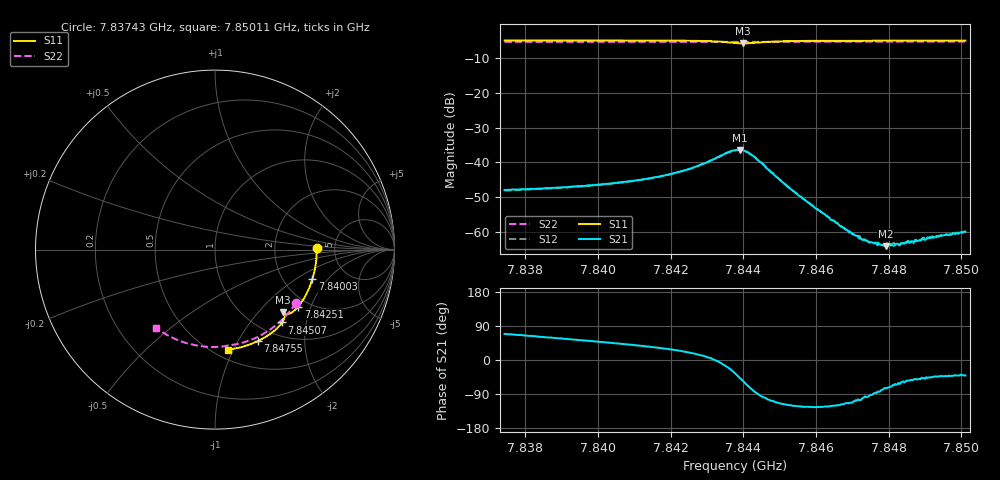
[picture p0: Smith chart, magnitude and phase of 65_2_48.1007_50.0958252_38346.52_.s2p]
#  HZ  S  RI  R  50.00
! Rohde & Schwarz Vector Network Analyzer
! Rohde-Schwarz,ZNB20-2Port,1311601062101988,3.16
! Created: UTC 12/23/2023, 3:41:11 AM
! freq[Hz]  re:S11  im:S11  re:S21  im:S21  re:S12  im:S12  re:S22  im:S22
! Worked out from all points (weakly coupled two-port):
!   401 points, 7.83743 GHz to 7.85011 GHz, reference 50 ohm
!   highest |S21| = -36.41 dB at 7.8439 GHz (marker M1); lowest = -64.1 dB at 7.84793 GHz (marker M2)
!   lowest |S11| = -5.8 dB at 7.844 GHz (marker M3), VSWR 3.12, Z = 72.1 - j68.6 ohm
!   |S11| at or under -10 dB: nowhere
!   |S22| runs from -5.4 to -5.3 dB; largest |S21 - S12| = 0.00032
!   S11 on the Smith chart (normalised r, x): 7.83743 GHz: 3.61, +0.07; 7.84003 GHz: 2.87, -1.39; 7.84251 GHz: 1.76, -1.64; 7.84507 GHz: 1.25, -1.46; 7.84755 GHz: 0.81, -1.21; 7.85011 GHz: 0.58, -0.95
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7.837433e9  0.5665 0.00641  0.00145 0.00373  0.00148 0.00367  0.4513 -0.2962
7.839557e9  0.5509 -0.1342  0.00284 0.00363  0.00279 0.00355  0.3542 -0.4084
7.840033e9  0.5424 -0.1651  0.0032 0.00356  0.00317 0.00354  0.3284 -0.4296
7.840762e9  0.5257 -0.2117  0.00393 0.0035  0.0039 0.00344  0.2864 -0.4589
7.841682e9  0.4976 -0.2688  0.00529 0.00331  0.00527 0.00331  0.2299 -0.4902
7.842506e9  0.4634 -0.3181  0.00755 0.00273  0.00753 0.00276  0.1762 -0.512
7.843299e9  0.4148 -0.3571  0.0119 -0.00069  0.0118 -0.000829  0.1222 -0.5266
7.843774e9  0.3808 -0.3569  0.0123 -0.00863  0.0123 -0.0085  0.0905 -0.5317
7.843901e9  0.3774 -0.3523  0.0103 -0.0111  0.0104 -0.011  0.0824 -0.5325
7.843996e9  0.3775 -0.3497  0.00843 -0.0123  0.00845 -0.0123  0.0767 -0.5336
7.844281e9  0.3858 -0.3533  0.00183 -0.0122  0.00201 -0.0122  0.0582 -0.5368
7.845074e9  0.374 -0.4058  -0.00231 -0.00471  -0.00231 -0.00477  0.00288 -0.5428
7.845898e9  0.3333 -0.4498  -0.00135 -0.00198  -0.00135 -0.00199  -0.0552 -0.5407
7.846691e9  0.2887 -0.4822  -0.000556 -0.00109  -0.000606 -0.00101  -0.1104 -0.5329
7.846976e9  0.2718 -0.4925  -0.000375 -0.000903  -0.00036 -0.000909  -0.13 -0.5286
7.84723e9  0.2567 -0.5005  -0.000222 -0.000771  -0.000194 -0.000808  -0.1472 -0.5242
7.847547e9  0.2374 -0.5102  -2.28e-05 -0.000708  -5.54e-06 -0.00071  -0.1687 -0.5181
7.847927e9  0.2142 -0.5207  0.000166 -0.000603  0.000183 -0.000638  -0.1939 -0.5094
7.848022e9  0.2082 -0.5231  0.000198 -0.000612  0.00023 -0.000619  -0.2001 -0.5068
7.848276e9  0.1923 -0.5292  0.000329 -0.000582  0.000315 -0.000569  -0.2166 -0.5003
7.849164e9  0.1355 -0.5464  0.000581 -0.000586  0.000608 -0.000592  -0.2724 -0.4728
7.850115e9  0.0732 -0.5578  0.000766 -0.000662  0.000778 -0.000668  -0.3283 -0.4365
